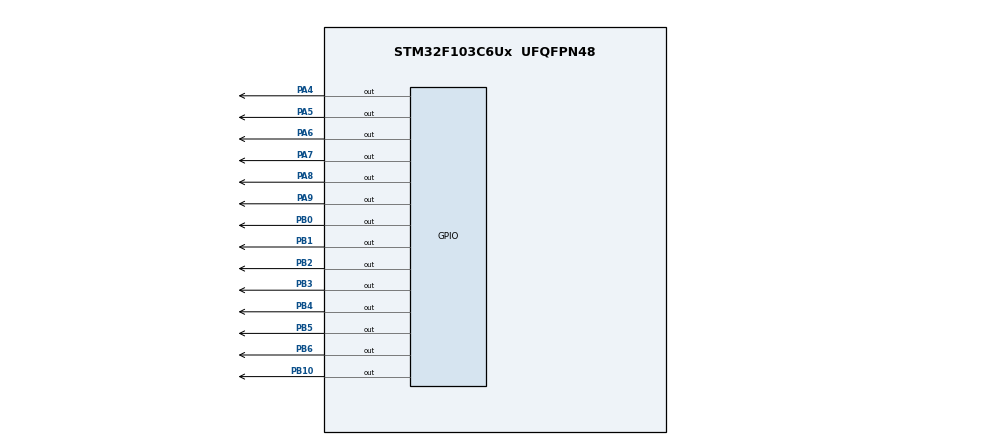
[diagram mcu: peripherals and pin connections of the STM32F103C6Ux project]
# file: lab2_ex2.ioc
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Mcu.Family=STM32F1
Mcu.Name=STM32F103C6Ux
Mcu.Package=UFQFPN48
NVIC.PriorityGroup=NVIC_PRIORITYGROUP_4
NVIC.TIM2_IRQn=true\:0\:0\:false\:false\:true\:true\:true
PA4.Signal=GPIO_Output
PA5.Signal=GPIO_Output
PA6.Signal=GPIO_Output
PA7.Signal=GPIO_Output
PA8.Signal=GPIO_Output
PA9.Signal=GPIO_Output
PB0.Signal=GPIO_Output
PB1.Signal=GPIO_Output
PB10.Signal=GPIO_Output
PB2.Signal=GPIO_Output
PB3.Signal=GPIO_Output
PB4.Signal=GPIO_Output
PB5.Signal=GPIO_Output
PB6.Signal=GPIO_Output
ProjectManager.HeapSize=0x200
ProjectManager.StackSize=0x400
ProjectManager.TargetToolchain=STM32CubeIDE
RCC.APB1Freq_Value=8000000
RCC.APB2Freq_Value=8000000
TIM2.Period=9
TIM2.Prescaler=7999
VP_SYS_VS_ND.Mode=No_Debug
VP_TIM2_VS_ClockSourceINT.Mode=Internal
board=custom

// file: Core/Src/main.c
/* USER CODE BEGIN Header */
/**
  ******************************************************************************
  * @file           : main.c
  * @brief          : Main program body
  ******************************************************************************
  * @attention
  *
  * <h2><center>&copy; Copyright (c) 2023 STMicroelectronics.
  * All rights reserved.</center></h2>
  *
  * This software component is licensed by ST under BSD 3-Clause license,
  * the "License"; You may not use this file except in compliance with the
  * License. You may obtain a copy of the License at:
  *                        opensource.org/licenses/BSD-3-Clause
  *
  ******************************************************************************
  */
/* USER CODE END Header */
#include "main.h"

TIM_HandleTypeDef htim2;

void SystemClock_Config(void);
static void MX_GPIO_Init(void);
static void MX_TIM2_Init(void);
void display7SEG(int num);

int main(void)
{

  /* MCU Configuration--------------------------------------------------------*/

  /* Reset of all peripherals, Initializes the Flash interface and the Systick. */
  HAL_Init();

  /* Configure the system clock */
  SystemClock_Config();

  /* Initialize all configured peripherals */
  MX_GPIO_Init();
  MX_TIM2_Init();
  /* USER CODE BEGIN 2 */
  HAL_TIM_Base_Start_IT(&htim2);
  /* USER CODE END 2 */

  /* Infinite loop */
  while (1)
  {

  }
}

void SystemClock_Config(void)
{
  RCC_OscInitTypeDef RCC_OscInitStruct = {0};
  RCC_ClkInitTypeDef RCC_ClkInitStruct = {0};

  /** Initializes the RCC Oscillators according to the specified parameters
  * in the RCC_OscInitTypeDef structure.
  */
  RCC_OscInitStruct.OscillatorType = RCC_OSCILLATORTYPE_HSI;
  RCC_OscInitStruct.HSIState = RCC_HSI_ON;
  RCC_OscInitStruct.HSICalibrationValue = RCC_HSICALIBRATION_DEFAULT;
  RCC_OscInitStruct.PLL.PLLState = RCC_PLL_NONE;
  if (HAL_RCC_OscConfig(&RCC_OscInitStruct) != HAL_OK)
  {
    Error_Handler();
  }
  /** Initializes the CPU, AHB and APB buses clocks
  */
  RCC_ClkInitStruct.ClockType = RCC_CLOCKTYPE_HCLK|RCC_CLOCKTYPE_SYSCLK
                              |RCC_CLOCKTYPE_PCLK1|RCC_CLOCKTYPE_PCLK2;
  RCC_ClkInitStruct.SYSCLKSource = RCC_SYSCLKSOURCE_HSI;
  RCC_ClkInitStruct.AHBCLKDivider = RCC_SYSCLK_DIV1;
  RCC_ClkInitStruct.APB1CLKDivider = RCC_HCLK_DIV1;
  RCC_ClkInitStruct.APB2CLKDivider = RCC_HCLK_DIV1;

  if (HAL_RCC_ClockConfig(&RCC_ClkInitStruct, FLASH_LATENCY_0) != HAL_OK)
  {
    Error_Handler();
  }
}

static void MX_TIM2_Init(void)
{

  TIM_ClockConfigTypeDef sClockSourceConfig = {0};
  TIM_MasterConfigTypeDef sMasterConfig = {0};

  htim2.Instance = TIM2;
  htim2.Init.Prescaler = 7999;
  htim2.Init.CounterMode = TIM_COUNTERMODE_UP;
  htim2.Init.Period = 9;
  htim2.Init.ClockDivision = TIM_CLOCKDIVISION_DIV1;
  htim2.Init.AutoReloadPreload = TIM_AUTORELOAD_PRELOAD_DISABLE;
  if (HAL_TIM_Base_Init(&htim2) != HAL_OK)
  {
    Error_Handler();
  }
  sClockSourceConfig.ClockSource = TIM_CLOCKSOURCE_INTERNAL;
  if (HAL_TIM_ConfigClockSource(&htim2, &sClockSourceConfig) != HAL_OK)
  {
    Error_Handler();
  }
  sMasterConfig.MasterOutputTrigger = TIM_TRGO_RESET;
  sMasterConfig.MasterSlaveMode = TIM_MASTERSLAVEMODE_DISABLE;
  if (HAL_TIMEx_MasterConfigSynchronization(&htim2, &sMasterConfig) != HAL_OK)
  {
    Error_Handler();
  }

}

static void MX_GPIO_Init(void)
{
  GPIO_InitTypeDef GPIO_InitStruct = {0};

  /* GPIO Ports Clock Enable */
  __HAL_RCC_GPIOA_CLK_ENABLE();
  __HAL_RCC_GPIOB_CLK_ENABLE();

  /*Configure GPIO pin Output Level */
  HAL_GPIO_WritePin(GPIOA, GPIO_PIN_4|GPIO_PIN_5|GPIO_PIN_6|GPIO_PIN_7
                          |GPIO_PIN_8|GPIO_PIN_9, GPIO_PIN_RESET);

  /*Configure GPIO pin Output Level */
  HAL_GPIO_WritePin(GPIOB, GPIO_PIN_0|GPIO_PIN_1|GPIO_PIN_2|GPIO_PIN_10
                          |GPIO_PIN_3|GPIO_PIN_4|GPIO_PIN_5|GPIO_PIN_6, GPIO_PIN_RESET);

  /*Configure GPIO pins : PA4 PA5 PA6 PA7
                           PA8 PA9 */
  GPIO_InitStruct.Pin = GPIO_PIN_4|GPIO_PIN_5|GPIO_PIN_6|GPIO_PIN_7
                          |GPIO_PIN_8|GPIO_PIN_9;
  GPIO_InitStruct.Mode = GPIO_MODE_OUTPUT_PP;
  GPIO_InitStruct.Pull = GPIO_NOPULL;
  GPIO_InitStruct.Speed = GPIO_SPEED_FREQ_LOW;
  HAL_GPIO_Init(GPIOA, &GPIO_InitStruct);

  /*Configure GPIO pins : PB0 PB1 PB2 PB10
                           PB3 PB4 PB5 PB6 */
  GPIO_InitStruct.Pin = GPIO_PIN_0|GPIO_PIN_1|GPIO_PIN_2|GPIO_PIN_10
                          |GPIO_PIN_3|GPIO_PIN_4|GPIO_PIN_5|GPIO_PIN_6;
  GPIO_InitStruct.Mode = GPIO_MODE_OUTPUT_PP;
  GPIO_InitStruct.Pull = GPIO_NOPULL;
  GPIO_InitStruct.Speed = GPIO_SPEED_FREQ_LOW;
  HAL_GPIO_Init(GPIOB, &GPIO_InitStruct);

}

/* USER CODE BEGIN 4 */
int counter = 50;
int second = 100;
int state = 0;
void HAL_TIM_PeriodElapsedCallback(TIM_HandleTypeDef *htim){
	 counter--;
	 second--;
	 if(second <= 0){
		 second = 100;
		 HAL_GPIO_TogglePin(GPIOA, GPIO_PIN_4);
		 HAL_GPIO_TogglePin(GPIOA, GPIO_PIN_5);
	 }
	 if(counter <= 0){
		 counter = 50;
		 if(state == 0){
			 display7SEG(1);
			 HAL_GPIO_WritePin(GPIOA, GPIO_PIN_6, RESET);
			 HAL_GPIO_WritePin(GPIOA, GPIO_PIN_7, SET);
			 HAL_GPIO_WritePin(GPIOA, GPIO_PIN_8, SET);
			 HAL_GPIO_WritePin(GPIOA, GPIO_PIN_9, SET);
			 state++;
		 }else if(state == 1){
			 display7SEG(2);
			 HAL_GPIO_WritePin(GPIOA, GPIO_PIN_6, SET);
			 HAL_GPIO_WritePin(GPIOA, GPIO_PIN_7, RESET);
			 HAL_GPIO_WritePin(GPIOA, GPIO_PIN_8, SET);
			 HAL_GPIO_WritePin(GPIOA, GPIO_PIN_9, SET);
			 state++;
		 }else if(state == 2){
			 display7SEG(3);
			 HAL_GPIO_WritePin(GPIOA, GPIO_PIN_6, SET);
			 HAL_GPIO_WritePin(GPIOA, GPIO_PIN_7, SET);
			 HAL_GPIO_WritePin(GPIOA, GPIO_PIN_8, RESET);
			 HAL_GPIO_WritePin(GPIOA, GPIO_PIN_9, SET);
			 state++;
		 }else if(state == 3){
			 display7SEG(0);
			 HAL_GPIO_WritePin(GPIOA, GPIO_PIN_6, SET);
			 HAL_GPIO_WritePin(GPIOA, GPIO_PIN_7, SET);
			 HAL_GPIO_WritePin(GPIOA, GPIO_PIN_8, SET);
			 HAL_GPIO_WritePin(GPIOA, GPIO_PIN_9, RESET);
			 state = 0;
		 }
	 }
}

void display7SEG(int number){
	switch(number){
		case 0:
			HAL_GPIO_WritePin(GPIOB, GPIO_PIN_0, RESET);
			HAL_GPIO_WritePin(GPIOB, GPIO_PIN_1, RESET);
			HAL_GPIO_WritePin(GPIOB, GPIO_PIN_2, RESET);
			HAL_GPIO_WritePin(GPIOB, GPIO_PIN_3, RESET);
			HAL_GPIO_WritePin(GPIOB, GPIO_PIN_4, RESET);
			HAL_GPIO_WritePin(GPIOB, GPIO_PIN_5, RESET);
			HAL_GPIO_WritePin(GPIOB, GPIO_PIN_6, SET);
			break;
		case 1:
			HAL_GPIO_WritePin(GPIOB, GPIO_PIN_0, SET);
			HAL_GPIO_WritePin(GPIOB, GPIO_PIN_1, RESET);
			HAL_GPIO_WritePin(GPIOB, GPIO_PIN_2, RESET);
			HAL_GPIO_WritePin(GPIOB, GPIO_PIN_3, SET);
			HAL_GPIO_WritePin(GPIOB, GPIO_PIN_4, SET);
			HAL_GPIO_WritePin(GPIOB, GPIO_PIN_5, SET);
			HAL_GPIO_WritePin(GPIOB, GPIO_PIN_6, SET);
			break;
		case 2:
			HAL_GPIO_WritePin(GPIOB, GPIO_PIN_0, RESET);
			HAL_GPIO_WritePin(GPIOB, GPIO_PIN_1, RESET);
			HAL_GPIO_WritePin(GPIOB, GPIO_PIN_2, SET);
			HAL_GPIO_WritePin(GPIOB, GPIO_PIN_3, RESET);
			HAL_GPIO_WritePin(GPIOB, GPIO_PIN_4, RESET);
			HAL_GPIO_WritePin(GPIOB, GPIO_PIN_5, SET);
			HAL_GPIO_WritePin(GPIOB, GPIO_PIN_6, RESET);
			break;
		case 3:
			HAL_GPIO_WritePin(GPIOB, GPIO_PIN_0, RESET);
			HAL_GPIO_WritePin(GPIOB, GPIO_PIN_1, RESET);
			HAL_GPIO_WritePin(GPIOB, GPIO_PIN_2, RESET);
			HAL_GPIO_WritePin(GPIOB, GPIO_PIN_3, RESET);
			HAL_GPIO_WritePin(GPIOB, GPIO_PIN_4, SET);
			HAL_GPIO_WritePin(GPIOB, GPIO_PIN_5, SET);
			HAL_GPIO_WritePin(GPIOB, GPIO_PIN_6, RESET);
			break;
		case 4:
			HAL_GPIO_WritePin(GPIOB, GPIO_PIN_0, SET);
			HAL_GPIO_WritePin(GPIOB, GPIO_PIN_1, RESET);
			HAL_GPIO_WritePin(GPIOB, GPIO_PIN_2, RESET);
			HAL_GPIO_WritePin(GPIOB, GPIO_PIN_3, SET);
			HAL_GPIO_WritePin(GPIOB, GPIO_PIN_4, SET);
			HAL_GPIO_WritePin(GPIOB, GPIO_PIN_5, RESET);
			HAL_GPIO_WritePin(GPIOB, GPIO_PIN_6, RESET);
			break;
		case 5:
			HAL_GPIO_WritePin(GPIOB, GPIO_PIN_0, RESET);
			HAL_GPIO_WritePin(GPIOB, GPIO_PIN_1, SET);
			HAL_GPIO_WritePin(GPIOB, GPIO_PIN_2, RESET);
			HAL_GPIO_WritePin(GPIOB, GPIO_PIN_3, RESET);
			HAL_GPIO_WritePin(GPIOB, GPIO_PIN_4, SET);
			HAL_GPIO_WritePin(GPIOB, GPIO_PIN_5, RESET);
			HAL_GPIO_WritePin(GPIOB, GPIO_PIN_6, RESET);
			break;
		case 6:
			HAL_GPIO_WritePin(GPIOB, GPIO_PIN_0, RESET);
			HAL_GPIO_WritePin(GPIOB, GPIO_PIN_1, SET);
			HAL_GPIO_WritePin(GPIOB, GPIO_PIN_2, RESET);
			HAL_GPIO_WritePin(GPIOB, GPIO_PIN_3, RESET);
			HAL_GPIO_WritePin(GPIOB, GPIO_PIN_4, RESET);
			HAL_GPIO_WritePin(GPIOB, GPIO_PIN_5, RESET);
			HAL_GPIO_WritePin(GPIOB, GPIO_PIN_6, RESET);
			break;
		case 7:
			HAL_GPIO_WritePin(GPIOB, GPIO_PIN_0, RESET);
			HAL_GPIO_WritePin(GPIOB, GPIO_PIN_1, RESET);
			HAL_GPIO_WritePin(GPIOB, GPIO_PIN_2, RESET);
			HAL_GPIO_WritePin(GPIOB, GPIO_PIN_3, SET);
			HAL_GPIO_WritePin(GPIOB, GPIO_PIN_4, SET);
			HAL_GPIO_WritePin(GPIOB, GPIO_PIN_5, SET);
			HAL_GPIO_WritePin(GPIOB, GPIO_PIN_6, SET);
			break;
		case 8:
			HAL_GPIO_WritePin(GPIOB, GPIO_PIN_0, RESET);
			HAL_GPIO_WritePin(GPIOB, GPIO_PIN_1, RESET);
			HAL_GPIO_WritePin(GPIOB, GPIO_PIN_2, RESET);
			HAL_GPIO_WritePin(GPIOB, GPIO_PIN_3, RESET);
			HAL_GPIO_WritePin(GPIOB, GPIO_PIN_4, RESET);
			HAL_GPIO_WritePin(GPIOB, GPIO_PIN_5, RESET);
			HAL_GPIO_WritePin(GPIOB, GPIO_PIN_6, RESET);
			break;
		case 9:
			HAL_GPIO_WritePin(GPIOB, GPIO_PIN_0, RESET);
			HAL_GPIO_WritePin(GPIOB, GPIO_PIN_1, RESET);
			HAL_GPIO_WritePin(GPIOB, GPIO_PIN_2, RESET);
			HAL_GPIO_WritePin(GPIOB, GPIO_PIN_3, RESET);
			HAL_GPIO_WritePin(GPIOB, GPIO_PIN_4, SET);
			HAL_GPIO_WritePin(GPIOB, GPIO_PIN_5, RESET);
			HAL_GPIO_WritePin(GPIOB, GPIO_PIN_6, RESET);
			break;
		default:
			break;
	}
}
/* USER CODE END 4 */

void Error_Handler(void)
{
  __disable_irq();
  while (1)
  {
  }
}

/************************ (C) COPYRIGHT STMicroelectronics *****END OF FILE****/
